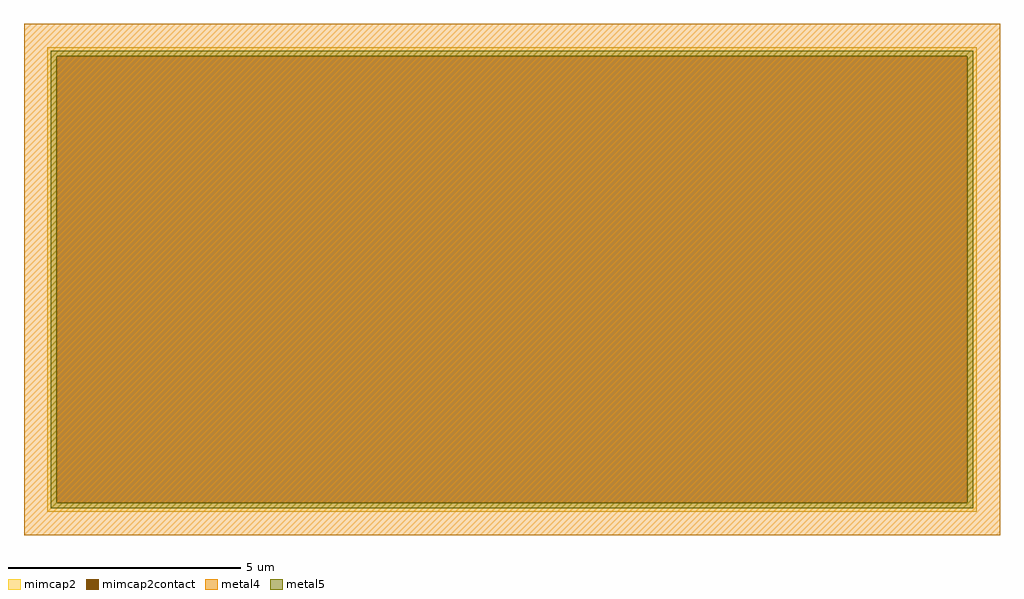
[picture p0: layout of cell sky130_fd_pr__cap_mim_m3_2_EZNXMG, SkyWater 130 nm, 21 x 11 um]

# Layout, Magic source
magic
tech sky130A
magscale 1 2
<< metal4 >>
rect -2351 -1100 1849 1100
<< mimcap2 >>
rect -2251 960 1749 1000
rect -2251 -960 -2211 960
rect 1709 -960 1749 960
rect -2251 -1000 1749 -960
<< mimcap2contact >>
rect -2211 -960 1709 960
<< metal5 >>
rect -2235 960 1733 984
rect -2235 -960 -2211 960
rect 1709 -960 1733 960
rect -2235 -984 1733 -960
<< properties >>
string FIXED_BBOX -2351 -1100 1849 1100
string gencell sky130_fd_pr__cap_mim_m3_2
string library sky130
string parameters w 20 l 10 val 411.4 carea 2.00 cperi 0.19 nx 1 ny 1 dummy 0 square 0 lmin 2.00 wmin 2.00 lmax 30.0 wmax 30.0 dc 0 bconnect 1 tconnect 1 ccov 100
<< end >>
